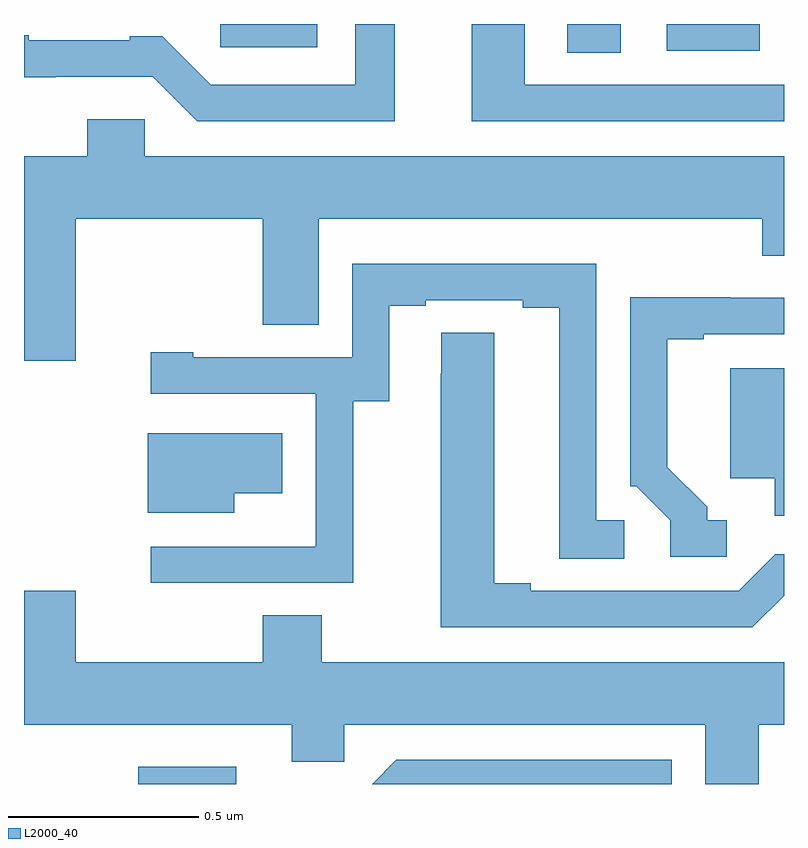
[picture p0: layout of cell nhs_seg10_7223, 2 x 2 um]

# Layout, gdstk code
import gdstk
lib = gdstk.Library(unit=1e-6, precision=1e-09)
def R(c, l, rs):  # rectangles x0, y0, x1, y1
    for r in rs: c.add(gdstk.rectangle(r[:2], r[2:], *l))
def P(c, l, *ps):  # polygons
    for p in ps: c.add(gdstk.Polygon(p, *l))
L2000_40 = (2000, 40)

nhs_seg10_7223 = lib.new_cell('nhs_seg10_7223')
R(nhs_seg10_7223, L2000_40, [(201.301,1293.5,201.559,1293.546), (202.43,1295.425,202.57,1295.5), (202.692,1295.43,202.936,1295.5), (201.516,1295.439,201.772,1295.5)])
P(nhs_seg10_7223, L2000_40, [(203,1295.34),(202.318,1295.34),(202.318,1295.5),(202.178,1295.5),(202.178,1295.244),(203,1295.244)],
  [(201.976,1295.5),(201.872,1295.5),(201.872,1295.34),(201.492,1295.34),(201.364,1295.468),(201.278,1295.468),(201.278,1295.457),(201.013,1295.457),(201.013,1295.47),(201,1295.47),(201,1295.36),(201.083,1295.36),(201.083,1295.361),(201.339,1295.361),(201.456,1295.244),(201.976,1295.244)],
  [(201.136,1294.988),(201.628,1294.988),(201.628,1294.708),(201.775,1294.708),(201.775,1294.988),(202.943,1294.988),(202.943,1294.89),(203,1294.89),(203,1295.152),(201.318,1295.152),(201.318,1295.25),(201.167,1295.25),(201.167,1295.152),(201,1295.152),(201,1294.614),(201.136,1294.614)],
  [(201.867,1294.507),(201.961,1294.507),(201.961,1294.758),(202.057,1294.758),(202.057,1294.773),(202.313,1294.773),(202.313,1294.753),(202.409,1294.753),(202.409,1294.093),(202.579,1294.093),(202.579,1294.194),(202.506,1294.194),(202.506,1294.869),(201.864,1294.869),(201.864,1294.623),(201.445,1294.623),(201.445,1294.636),(201.333,1294.636),(201.333,1294.527),(201.768,1294.527),(201.768,1294.126),(201.767,1294.126),(201.767,1294.125),(201.333,1294.125),(201.333,1294.029),(201.867,1294.029)],
  [(202.849,1294.194),(202.798,1294.194),(202.798,1294.229),(202.693,1294.334),(202.693,1294.671),(202.789,1294.671),(202.789,1294.683),(203,1294.683),(203,1294.779),(202.859,1294.779),(202.859,1294.781),(202.596,1294.781),(202.596,1294.284),(202.611,1294.284),(202.701,1294.194),(202.701,1294.098),(202.849,1294.098)],
  [(203,1293.995),(203,1294.104),(202.977,1294.104),(202.881,1294.008),(202.333,1294.008),(202.333,1294.028),(202.237,1294.028),(202.237,1294.688),(202.098,1294.688),(202.098,1294.58),(202.097,1294.58),(202.097,1293.912),(202.917,1293.912)],
  [(203,1294.594),(202.859,1294.594),(202.859,1294.304),(202.976,1294.304),(202.976,1294.206),(203,1294.206)],
  [(201.553,1294.265),(201.679,1294.265),(201.679,1294.423),(201.326,1294.423),(201.326,1294.214),(201.553,1294.214)],
  [(202.933,1293.656),(203,1293.656),(203,1293.82),(201.783,1293.82),(201.783,1293.944),(201.628,1293.944),(201.628,1293.82),(201.136,1293.82),(201.136,1294.009),(201,1294.009),(201,1293.656),(201.704,1293.656),(201.704,1293.558),(201.843,1293.558),(201.843,1293.656),(202.793,1293.656),(202.793,1293.5),(202.933,1293.5)],
  [(202.704,1293.564),(201.98,1293.564),(201.916,1293.5),(202.704,1293.5)])

lib.write_gds('nhs_seg10_7223.gds')
